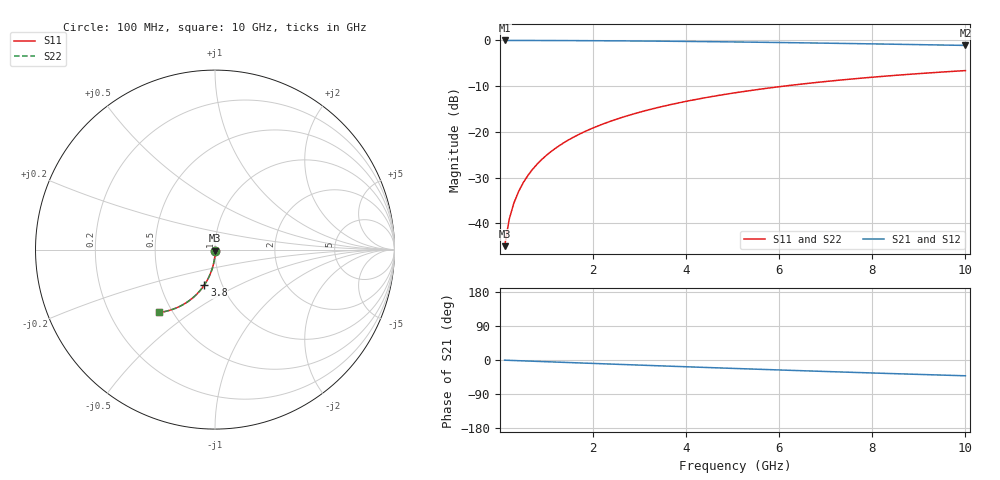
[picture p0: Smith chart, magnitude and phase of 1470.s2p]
# Hz S RI R 50.00
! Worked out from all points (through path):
!   100 points, 100 MHz to 10 GHz, reference 50 ohm
!   highest |S21| = -0.01 dB at 100 MHz (marker M1); lowest = -1.1 dB at 10 GHz (marker M2)
!   group delay of S21, straight-line fit = 11.6 ps
!   lowest |S11| = -45.0 dB at 100 MHz (marker M3), VSWR 1.01, Z = 50.1 - j0.558 ohm
!   |S11| at or under -10 dB: start of sweep to 6.099 GHz
!   |S22| runs from -45.0 to -6.6 dB; largest |S21 - S12| = 0
!   S11 on the Smith chart (normalised r, x): 100 MHz: 1.00, -0.01; 3.8 GHz: 0.83, -0.34; 10 GHz: 0.42, -0.38
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1e8  0.00082 -0.00557  0.9991 -0.0079  0.9991 -0.0079  0.00082 -0.00557
2e8  0.000688 -0.0111  0.9989 -0.0158  0.9989 -0.0158  0.000688 -0.0111
3e8  0.000466 -0.0167  0.9987 -0.0237  0.9987 -0.0237  0.000466 -0.0167
4e8  0.000155 -0.0223  0.9983 -0.0316  0.9983 -0.0316  0.000155 -0.0223
5e8  -0.000244 -0.0278  0.9979 -0.0394  0.9979 -0.0394  -0.000244 -0.0278
6e8  -0.00073 -0.0334  0.9974 -0.0473  0.9974 -0.0473  -0.00073 -0.0334
7e8  -0.0013 -0.0389  0.9968 -0.0552  0.9968 -0.0552  -0.0013 -0.0389
8e8  -0.00197 -0.0444  0.9961 -0.063  0.9961 -0.063  -0.00197 -0.0444
9e8  -0.00271 -0.0499  0.9953 -0.0709  0.9953 -0.0709  -0.00271 -0.0499
1.1e9  -0.00447 -0.0609  0.9934 -0.0865  0.9934 -0.0865  -0.00447 -0.0609
1.4e9  -0.00774 -0.0772  0.9899 -0.1098  0.9899 -0.1098  -0.00774 -0.0772
1.8e9  -0.0133 -0.0986  0.984 -0.1405  0.984 -0.1405  -0.0133 -0.0986
2.1e9  -0.0183 -0.1144  0.9787 -0.1632  0.9787 -0.1632  -0.0183 -0.1144
2.5e9  -0.0261 -0.1349  0.9704 -0.1931  0.9704 -0.1931  -0.0261 -0.1349
2.9e9  -0.035 -0.1548  0.9608 -0.2223  0.9608 -0.2223  -0.035 -0.1548
3.4e9  -0.0479 -0.1786  0.9471 -0.2578  0.9471 -0.2578  -0.0479 -0.1786
3.8e9  -0.0593 -0.1968  0.9348 -0.2853  0.9348 -0.2853  -0.0593 -0.1968
4.4e9  -0.0783 -0.2224  0.9145 -0.325  0.9145 -0.325  -0.0783 -0.2224
5.1e9  -0.1028 -0.2495  0.8881 -0.3686  0.8881 -0.3686  -0.1028 -0.2495
6.7e9  -0.1663 -0.2997  0.8193 -0.4565  0.8193 -0.4565  -0.1663 -0.2997
8.4e9  -0.24 -0.3342  0.7382 -0.5317  0.7382 -0.5317  -0.24 -0.3342
1e10  -0.3105 -0.35  0.6591 -0.5861  0.6591 -0.5861  -0.3105 -0.35
